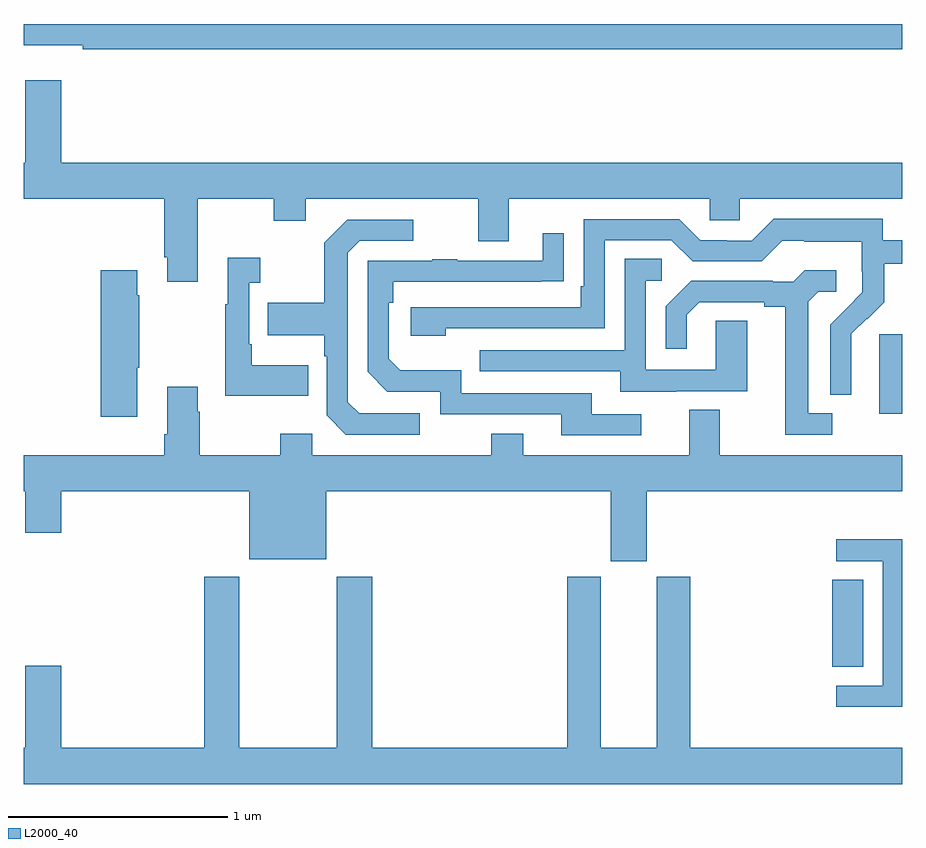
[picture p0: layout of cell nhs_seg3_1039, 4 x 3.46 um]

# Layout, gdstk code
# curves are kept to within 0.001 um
import gdstk
lib = gdstk.Library(unit=1e-6, precision=1e-09)
def R(c, l, rs):  # rectangles x0, y0, x1, y1
    for r in rs: c.add(gdstk.rectangle(r[:2], r[2:], *l))
def P(c, l, *ps):  # polygons
    for p in ps: c.add(gdstk.Polygon(p, *l))
L2000_40 = (2000, 40)

nhs_seg3_1039 = lib.new_cell('nhs_seg3_1039')
R(nhs_seg3_1039, L2000_40, [(168.68,685.465,168.823,685.862), (168.896,686.618,169,686.979)])
P(nhs_seg3_1039, L2000_40, [(169,688.392),(165,688.392),(165,688.295),(165.268,688.295),(165.268,688.276),(169,688.276)],
  [(165.793,687.596),(166.138,687.596),(166.138,687.497),(166.285,687.497),(166.285,687.596),(167.069,687.596),(167.069,687.402),(167.209,687.402),(167.209,687.596),(168.123,687.596),(168.123,687.498),(168.261,687.498),(168.261,687.596),(169,687.596),(169,687.76),(165.172,687.76),(165.172,688.135),(165.008,688.135),(165.008,687.76),(165,687.76),(165,687.596),(165.641,687.596),(165.641,687.331),(165.653,687.331),(165.653,687.219),(165.793,687.219)],
  [(168.768,686.858),(168.767,686.981),(168.837,687.051),(168.84,687.048),(168.917,687.125),(168.917,687.3),(169,687.3),(169,687.408),(168.912,687.408),(168.912,687.505),(168.415,687.505),(168.315,687.405),(168.2,687.405),(168.2,687.408),(168.081,687.408),(167.985,687.504),(167.55,687.504),(167.55,687.199),(167.537,687.199),(167.537,687.102),(166.761,687.102),(166.761,686.972),(166.922,686.972),(166.922,687.006),(167.646,687.006),(167.646,687.408),(167.949,687.408),(168.045,687.312),(168.36,687.312),(168.453,687.405),(168.553,687.405),(168.553,687.401),(168.816,687.401),(168.816,687.267),(168.818,687.267),(168.818,687.17),(168.672,687.022),(168.672,686.704),(168.768,686.704)],
  [(166.804,686.619),(166.527,686.619),(166.476,686.67),(166.476,687.351),(166.53,687.405),(166.774,687.405),(166.774,687.501),(166.473,687.501),(166.368,687.395),(166.368,687.123),(166.111,687.123),(166.111,686.975),(166.368,686.975),(166.368,686.879),(166.38,686.879),(166.38,686.61),(166.467,686.523),(166.804,686.523)],
  [(167.812,686.616),(167.587,686.616),(167.587,686.712),(166.992,686.712),(166.992,686.815),(166.715,686.815),(166.662,686.868),(166.662,687.122),(166.682,687.122),(166.682,687.219),(167.459,687.22),(167.459,687.439),(167.363,687.439),(167.363,687.315),(166.973,687.315),(166.973,687.32),(166.861,687.32),(166.861,687.315),(166.566,687.315),(166.566,686.808),(166.656,686.718),(166.896,686.718),(166.896,686.616),(167.447,686.616),(167.447,686.52),(167.812,686.52)],
  [(166.295,686.839),(166.039,686.839),(166.039,686.935),(166.026,686.935),(166.026,687.215),(166.078,687.215),(166.078,687.328),(165.929,687.328),(165.929,687.115),(165.918,687.115),(165.918,686.699),(166.295,686.699)],
  [(167.971,686.721),(168.295,686.721),(168.295,687.041),(168.15,687.041),(168.15,686.817),(167.832,686.817),(167.832,687.222),(167.905,687.222),(167.905,687.323),(167.736,687.323),(167.736,686.907),(167.077,686.907),(167.077,686.811),(167.717,686.811),(167.717,686.717),(167.971,686.717)],
  [(168.682,686.619),(168.571,686.619),(168.571,687.127),(168.618,687.174),(168.7,687.174),(168.7,687.271),(168.556,687.271),(168.504,687.219),(168.41,687.219),(168.41,687.222),(168.038,687.222),(167.922,687.106),(167.922,686.913),(168.019,686.913),(168.019,687.069),(168.076,687.126),(168.371,687.126),(168.371,687.104),(168.467,687.104),(168.467,686.523),(168.682,686.523)],
  [(165.517,686.827),(165.525,686.827),(165.525,687.158),(165.517,687.158),(165.517,687.271),(165.35,687.271),(165.35,686.604),(165.517,686.604)],
  [(167.836,686.264),(169,686.264),(169,686.428),(168.169,686.428),(168.169,686.636),(168.029,686.636),(168.029,686.428),(167.275,686.428),(167.275,686.527),(167.128,686.527),(167.128,686.428),(166.314,686.428),(166.314,686.527),(166.168,686.527),(166.168,686.428),(165.801,686.428),(165.801,686.627),(165.793,686.627),(165.793,686.74),(165.653,686.74),(165.653,686.524),(165.641,686.524),(165.641,686.428),(165,686.428),(165,686.264),(165.008,686.264),(165.008,686.076),(165.172,686.076),(165.172,686.264),(166.028,686.264),(166.028,685.955),(166.378,685.955),(166.378,686.264),(167.672,686.264),(167.672,685.947),(167.836,685.947)],
  [(169,686.046),(168.699,686.046),(168.699,685.947),(168.912,685.947),(168.912,685.38),(168.699,685.38),(168.699,685.284),(169,685.284)],
  [(169,685.096),(168.035,685.096),(168.035,685.875),(167.882,685.875),(167.882,685.096),(167.626,685.096),(167.626,685.875),(167.474,685.875),(167.474,685.096),(166.586,685.096),(166.586,685.876),(166.426,685.876),(166.426,685.096),(165.981,685.096),(165.981,685.876),(165.821,685.876),(165.821,685.096),(165.172,685.096),(165.172,685.471),(165.008,685.471),(165.008,685.096),(165,685.096),(165,684.932),(169,684.932)])

lib.write_gds('nhs_seg3_1039.gds')
